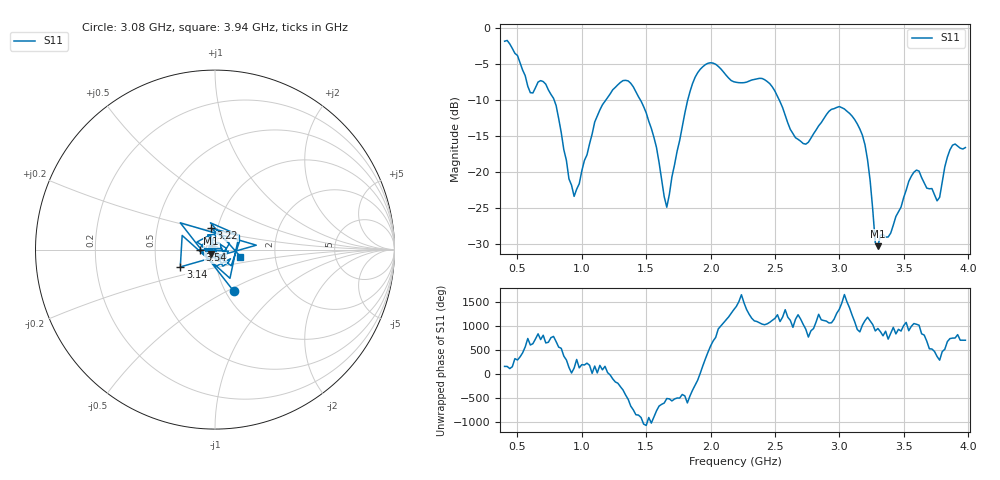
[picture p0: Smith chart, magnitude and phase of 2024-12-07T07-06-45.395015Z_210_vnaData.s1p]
!Created with skrf (http://scikit-rf.org).
# Hz S RI R 50.0
!freq ReS11 ImS11
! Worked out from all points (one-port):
!   180 points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, 400 MHz to 3.98 GHz, reference 50 ohm
!   lowest |S11| = -30.3 dB at 3.3 GHz (marker M1), VSWR 1.06, Z = 47.9 - j2.16 ohm
!   |S11| at or under -10 dB: 785 MHz to 1.186 GHz (401 MHz wide, 40.7 % of centre); 1.455 GHz to 1.823 GHz (367.3 MHz wide, 22.4 % of centre); 2.534 GHz to end of sweep
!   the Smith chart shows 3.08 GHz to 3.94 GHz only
!   S11 on the Smith chart (normalised r, x): 3.08 GHz: 1.09, -0.55; 3.14 GHz: 0.66, -0.13; 3.22 GHz: 0.93, +0.23; 3.54 GHz: 0.84, -0.00; 3.94 GHz: 1.32, -0.11
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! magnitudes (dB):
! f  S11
! 400 MHz  -1.8
! 600 MHz  -9.0
! 780 MHz  -9.8
! 860 MHz  -16.9
! 940 MHz  -23.3
! 1.1 GHz  -13.0
! 1.3 GHz  -7.6
! 1.5 GHz  -11.8
! 1.66 GHz  -24.9
! 1.76 GHz  -15.6
! 1.92 GHz  -5.7
! 2.2 GHz  -7.5
! 2.46 GHz  -7.7
! 2.64 GHz  -14.7
! 2.74 GHz  -16.1
! 2.94 GHz  -11.3
! 3.08 GHz  -11.8
! 3.1 GHz  -12.2
! 3.14 GHz  -13.3
! 3.22 GHz  -18.3
! 3.28 GHz  -29.8
! 3.3 GHz  -30.3
! 3.54 GHz  -21.3
! 3.62 GHz  -19.9
! 3.76 GHz  -24.0
! 3.86 GHz  -16.9
! 3.94 GHz  -16.7
! 3.98 GHz  -16.6
